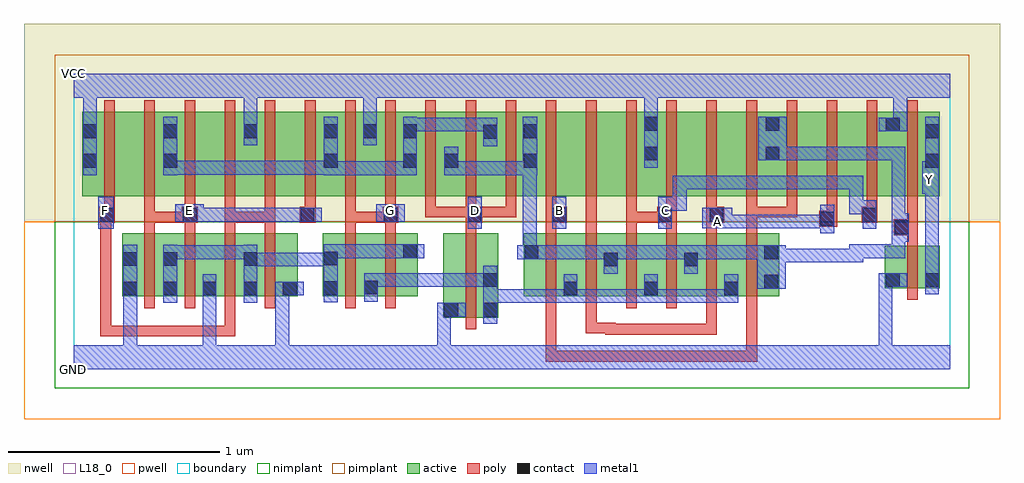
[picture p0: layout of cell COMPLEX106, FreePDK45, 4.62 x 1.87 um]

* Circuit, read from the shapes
.subckt COMPLEX106 A B C D E F G GND VCC Y
M1 n1 E GND VSUBS nfet w=0.3u l=0.05u m=2
M2 n1 F GND VSUBS nfet w=0.3u l=0.05u m=2
M3 n2 G n1 VSUBS nfet w=0.3u l=0.05u m=2
M4 n2 D GND VSUBS nfet w=0.4u l=0.05u
M5 n2 B n3 VSUBS nfet w=0.3u l=0.05u m=2
M6 n3 A n2 VSUBS nfet w=0.3u l=0.05u m=2
M7 n2 C n3 VSUBS nfet w=0.3u l=0.05u m=2
M8 Y n3 GND VSUBS nfet w=0.2u l=0.05u
M9 n4 F VCC n5 pfet w=0.4u l=0.05u
M10 n6 E n4 n5 pfet w=0.4u l=0.05u
M11 n7 E n6 n5 pfet w=0.4u l=0.05u
M12 VCC F n7 n5 pfet w=0.4u l=0.05u
M13 n8 F VCC n5 pfet w=0.4u l=0.05u
M14 n6 E n8 n5 pfet w=0.4u l=0.05u
M15 VCC G n6 n5 pfet w=0.4u l=0.05u m=2
M16 n3 D n6 n5 pfet w=0.4u l=0.05u m=3
M17 n9 B n3 n5 pfet w=0.4u l=0.05u
M18 n10 A n9 n5 pfet w=0.4u l=0.05u
M19 VCC C n10 n5 pfet w=0.4u l=0.05u
M20 n11 C VCC n5 pfet w=0.4u l=0.05u
M21 n12 A n11 n5 pfet w=0.4u l=0.05u
M22 n3 B n12 n5 pfet w=0.4u l=0.05u
M23 n13 B n3 n5 pfet w=0.4u l=0.05u
M24 n14 A n13 n5 pfet w=0.4u l=0.05u
M25 VCC C n14 n5 pfet w=0.4u l=0.05u
M26 Y n3 VCC n5 pfet w=0.4u l=0.05u
.ends

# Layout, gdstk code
import gdstk
lib = gdstk.Library(unit=1e-6, precision=1e-09)
def R(c, l, rs):  # rectangles x0, y0, x1, y1
    for r in rs: c.add(gdstk.rectangle(r[:2], r[2:], *l))
def A(c, l, x, y, w, h, nx, ny, dx, dy):  # array of equal rectangles
    R(c, l, [(x+i*dx, y+j*dy, x+i*dx+w, y+j*dy+h) for i in range(nx) for j in range(ny)])
active = (1, 0)
pwell = (2, 0)
nwell = (3, 0)
nimplant = (4, 0)
pimplant = (5, 0)
poly = (9, 0)
contact = (10, 0)
metal1 = (11, 0)
L18_0 = (18, 0)
boundary = (235, 0)

complex106 = lib.new_cell('COMPLEX106')
A(complex106, active, 2.315, 0.345, 0.265, 0.3, 5, 1, 0.19, 0)
A(complex106, active, 2.505, 0.345, 0.075, 0.3, 3, 1, 0.38, 0)
A(complex106, active, 0.04, 0.82, 0.225, 0.4, 3, 1, 0.38, 0)
A(complex106, active, 0.265, 0.82, 0.23, 0.4, 3, 1, 0.38, 0)
A(complex106, active, 2.355, 0.82, 0.19, 0.4, 3, 1, 0.57, 0)
R(complex106, active, [(1.75,0.245,1.825,0.645), (1.75,0.245,2.01,0.645), (1.935,0.245,2.01,0.645), (0.23,0.345,0.305,0.645), (0.23,0.345,0.495,0.645), (0.42,0.345,0.68,0.645), (0.42,0.345,0.495,0.56), (0.605,0.345,0.68,0.437), (0.605,0.345,0.875,0.645), (0.8,0.345,0.875,0.645), (0.8,0.345,1.06,0.645), (0.985,0.345,1.06,0.645), (1.18,0.345,1.255,0.645), (1.18,0.345,1.445,0.645), (1.37,0.345,1.445,0.597), (1.37,0.345,1.63,0.645), (1.555,0.345,1.63,0.645), (2.13,0.345,2.205,0.645), (2.13,0.345,2.39,0.645), (2.315,0.345,2.39,0.437), (2.695,0.345,2.77,0.642), (3.075,0.345,3.15,0.597), (3.84,0.385,3.915,0.585), (3.84,0.385,4.1,0.585), (4.025,0.385,4.1,0.585), (0.04,0.82,0.115,1.22), (1.18,0.82,1.44,1.22), (1.365,0.82,1.44,1.22), (1.365,0.82,1.63,1.22), (1.555,0.82,1.63,1.2), (1.555,0.82,1.825,1.22), (1.75,0.82,2.01,1.22), (1.75,0.82,1.825,1.07), (1.935,0.82,2.2,1.22), (2.125,0.82,2.355,1.22), (2.125,0.82,2.2,1.2), (2.545,0.82,2.77,1.22), (2.695,0.82,2.925,1.22), (3.115,0.82,3.345,1.22), (3.27,0.82,3.495,1.22), (3.27,0.82,3.345,1.2), (3.685,0.82,3.915,1.22), (3.84,0.82,4.1,1.22), (4.025,0.82,4.1,1.165), (0.42,0.907,0.495,1.2), (0.8,0.907,0.875,1.22), (1.18,0.907,1.255,1.2), (1.935,0.907,2.01,1.2), (2.695,0.907,2.77,1.217), (3.84,0.907,3.915,1.22)])
R(complex106, pwell, [(-0.235,-0.235,4.385,0.7)])
R(complex106, nwell, [(-0.235,0.7,4.385,1.635)])
R(complex106, nimplant, [(-0.09,-0.09,4.24,0.7)])
R(complex106, pimplant, [(-0.09,0.7,4.24,1.49)])
A(complex106, poly, 0.335, 0.29, 0.05, 0.41, 4, 1, 0.19, 0)
A(complex106, poly, 2.235, 0.29, 0.05, 0.41, 6, 1, 0.19, 0)
A(complex106, poly, 0.335, 0.65, 0.05, 0.095, 4, 1, 0.19, 0)
A(complex106, poly, 1.475, 0.65, 0.05, 0.095, 4, 1, 0.38, 0)
A(complex106, poly, 1.475, 0.72, 0.05, 0.095, 6, 1, 0.19, 0)
A(complex106, poly, 2.805, 0.72, 0.05, 0.095, 4, 1, 0.19, 0)
A(complex106, poly, 0.145, 0.765, 0.05, 0.51, 21, 1, 0.19, 0)
R(complex106, poly, [(2.235,0.037,2.285,0.087), (2.235,0.037,2.285,0.087), (2.235,0.037,2.285,0.087), (2.235,0.037,2.285,0.087), (2.235,0.037,2.285,0.087), (2.235,0.037,2.285,0.34), (2.235,0.037,2.472,0.087), (2.422,0.037,2.472,0.087), (2.422,0.037,2.472,0.087), (2.422,0.037,2.472,0.087), (2.422,0.037,2.607,0.087), (2.557,0.037,2.607,0.087), (2.557,0.037,2.912,0.087), (2.862,0.037,2.912,0.087), (2.862,0.037,2.912,0.087), (2.862,0.037,2.912,0.087), (2.862,0.037,3.045,0.087), (2.995,0.037,3.045,0.087), (2.995,0.037,3.045,0.087), (2.995,0.037,3.045,0.087), (2.995,0.037,3.235,0.087), (3.185,0.037,3.235,0.087), (3.185,0.037,3.235,0.087), (3.185,0.037,3.235,0.087), (3.185,0.037,3.235,0.087), (3.185,0.037,3.235,0.087), (3.185,0.037,3.235,0.34), (0.127,0.157,0.177,0.207), (0.127,0.157,0.177,0.207), (0.127,0.157,0.177,0.207), (0.127,0.157,0.177,0.207), (0.127,0.157,0.177,0.207), (0.127,0.157,0.177,0.207), (0.127,0.157,0.177,0.207), (0.127,0.157,0.31,0.207), (0.127,0.157,0.177,0.745), (0.26,0.157,0.31,0.207), (0.26,0.157,0.31,0.207), (0.26,0.157,0.31,0.207), (0.26,0.157,0.632,0.207), (0.582,0.157,0.632,0.207), (0.582,0.157,0.632,0.207), (0.582,0.157,0.632,0.207), (0.582,0.157,0.765,0.207), (0.715,0.157,0.765,0.207), (0.715,0.157,0.765,0.207), (0.715,0.157,0.765,0.207), (0.715,0.157,0.765,0.34), (2.517,0.165,2.567,0.22), (2.517,0.165,2.607,0.215), (2.557,0.165,2.607,0.215), (2.557,0.165,2.762,0.215), (2.712,0.165,2.762,0.215), (2.712,0.165,2.912,0.215), (2.862,0.165,2.912,0.215), (2.862,0.165,3.045,0.215), (2.995,0.165,3.045,0.22), (2.425,0.17,2.475,0.22), (2.425,0.17,2.475,0.34), (2.425,0.17,2.567,0.22), (2.995,0.17,3.045,0.22), (2.995,0.17,3.045,0.22), (2.995,0.17,3.045,0.34), (1.855,0.19,1.905,0.7), (1.285,0.29,1.335,0.7), (1.475,0.29,1.525,0.7), (3.945,0.33,3.995,0.64), (3.945,0.59,3.995,0.685), (3.882,0.635,3.995,0.71), (1.285,0.65,1.335,0.745), (2.425,0.65,2.475,0.77), (2.805,0.65,2.855,0.745), (2.995,0.65,3.045,0.745), (3.185,0.65,3.235,0.77), (3.945,0.66,3.995,0.815), (3.53,0.675,3.615,0.75), (0.12,0.695,0.195,0.77), (0.335,0.695,0.385,0.745), (0.335,0.695,0.385,0.815), (0.335,0.695,0.442,0.745), (0.392,0.695,0.442,0.745), (0.392,0.695,0.562,0.745), (0.512,0.695,0.587,0.77), (0.715,0.695,0.765,0.745), (0.715,0.695,0.955,0.745), (0.715,0.695,0.765,0.815), (0.905,0.695,0.955,0.745), (0.905,0.695,0.955,0.745), (0.905,0.695,0.955,0.745), (0.905,0.695,0.955,0.815), (1.07,0.695,1.145,0.77), (1.285,0.695,1.335,0.745), (1.285,0.695,1.335,0.745), (1.285,0.695,1.335,0.745), (1.285,0.695,1.335,0.815), (1.285,0.695,1.512,0.745), (1.462,0.695,1.537,0.77), (1.855,0.695,1.935,0.77), (2.235,0.695,2.335,0.77), (2.615,0.695,2.665,0.745), (2.615,0.695,2.665,0.815), (2.615,0.695,2.812,0.745), (2.762,0.695,2.812,0.745), (2.762,0.695,2.812,0.745), (2.762,0.695,2.855,0.77), (2.995,0.695,3.08,0.77), (3.73,0.695,3.805,0.77), (3.565,0.7,3.615,0.815), (0.145,0.72,0.195,0.815), (0.525,0.72,0.575,0.815), (1.095,0.72,1.145,0.815), (1.665,0.72,1.715,0.77), (1.665,0.72,1.715,0.77), (1.665,0.72,1.715,0.77), (1.665,0.72,1.905,0.77), (1.885,0.72,1.935,0.77), (1.885,0.72,1.935,0.77), (1.885,0.72,2.095,0.77), (2.045,0.72,2.095,0.77), (2.425,0.72,2.475,0.77), (3.185,0.72,3.235,0.77), (3.185,0.72,3.425,0.77), (3.375,0.72,3.425,0.77), (3.375,0.72,3.425,0.77), (3.375,0.72,3.425,0.77), (3.755,0.72,3.805,0.815)])
A(complex106, contact, 2.32, 0.35, 0.065, 0.065, 3, 1, 0.38, 0)
A(complex106, contact, 0.045, 1.095, 0.065, 0.065, 4, 1, 0.38, 0)
R(complex106, contact, [(1.755,0.25,1.82,0.315), (1.94,0.25,2.005,0.315), (0.235,0.35,0.3,0.415), (0.425,0.35,0.49,0.415), (0.61,0.35,0.675,0.415), (0.805,0.35,0.87,0.415), (0.99,0.35,1.055,0.415), (1.185,0.352,1.25,0.417), (1.375,0.355,1.44,0.42), (3.27,0.382,3.335,0.447), (1.94,0.39,2.005,0.455), (3.845,0.39,3.91,0.455), (4.03,0.39,4.095,0.455), (2.51,0.487,2.575,0.552), (2.89,0.487,2.955,0.552), (0.235,0.49,0.3,0.555), (0.425,0.49,0.49,0.555), (0.805,0.49,0.87,0.555), (1.185,0.492,1.25,0.557), (2.135,0.522,2.2,0.587), (3.27,0.522,3.335,0.587), (1.56,0.527,1.625,0.592), (3.887,0.64,3.952,0.705), (3.535,0.68,3.6,0.745), (0.125,0.7,0.19,0.765), (0.517,0.7,0.582,0.765), (1.075,0.7,1.14,0.765), (1.467,0.7,1.532,0.765), (1.865,0.7,1.93,0.765), (2.265,0.7,2.33,0.765), (2.767,0.7,2.832,0.765), (3.01,0.7,3.075,0.765), (3.735,0.7,3.8,0.765), (0.045,0.955,0.11,1.02), (0.425,0.955,0.49,1.02), (1.185,0.955,1.25,1.02), (1.56,0.955,1.625,1.02), (1.755,0.955,1.82,1.02), (2.13,0.955,2.195,1.02), (4.03,0.955,4.095,1.02), (2.7,0.99,2.765,1.055), (3.275,0.99,3.34,1.055), (1.94,1.092,2.005,1.157), (1.37,1.095,1.435,1.16), (1.56,1.095,1.625,1.16), (2.13,1.095,2.195,1.16), (4.03,1.095,4.095,1.16), (3.845,1.127,3.91,1.192), (2.7,1.13,2.765,1.195), (3.275,1.13,3.34,1.195)])
A(complex106, metal1, 2.32, 0.315, 0.065, 0.135, 3, 1, 0.38, 0)
R(complex106, metal1, [(0,0,4.15,0.115), (0.235,0.05,0.3,0.115), (0.235,0.05,0.3,0.115), (0.235,0.05,0.3,0.38), (0.61,0.05,0.675,0.115), (0.61,0.05,0.675,0.115), (0.61,0.05,0.675,0.115), (0.61,0.05,0.675,0.115), (0.61,0.05,0.675,0.38), (0.955,0.05,1.02,0.115), (0.955,0.05,1.02,0.115), (0.955,0.05,1.02,0.115), (0.955,0.05,1.02,0.115), (0.955,0.05,1.02,0.415), (1.72,0.05,1.785,0.115), (1.72,0.05,1.785,0.115), (1.72,0.05,1.785,0.315), (3.81,0.05,3.875,0.115), (3.81,0.05,3.875,0.115), (3.81,0.05,3.875,0.115), (3.81,0.05,3.875,0.115), (3.81,0.05,3.875,0.115), (3.81,0.05,3.875,0.115), (3.81,0.05,3.875,0.455), (1.94,0.215,2.005,0.49), (1.72,0.25,1.855,0.315), (0.235,0.315,0.3,0.38), (0.235,0.315,0.3,0.38), (0.235,0.315,0.3,0.59), (0.425,0.315,0.49,0.59), (0.61,0.315,0.675,0.45), (0.805,0.315,0.87,0.59), (1.94,0.315,2.142,0.38), (2.077,0.315,2.142,0.38), (2.077,0.315,2.142,0.38), (2.077,0.315,2.142,0.38), (2.077,0.315,2.385,0.38), (2.32,0.315,2.385,0.38), (2.32,0.315,2.385,0.38), (2.32,0.315,2.557,0.38), (2.492,0.315,2.557,0.38), (2.492,0.315,2.557,0.38), (2.492,0.315,2.557,0.38), (2.492,0.315,2.695,0.38), (2.63,0.315,2.695,0.38), (2.63,0.315,2.765,0.38), (2.7,0.315,2.902,0.38), (2.837,0.315,2.902,0.38), (2.837,0.315,2.902,0.38), (2.837,0.315,2.902,0.38), (2.837,0.315,3.145,0.38), (3.08,0.315,3.145,0.38), (3.08,0.315,3.145,0.38), (1.185,0.317,1.25,0.592), (1.375,0.32,1.44,0.455), (0.955,0.35,1.09,0.415), (4.03,0.355,4.095,0.49), (3.235,0.382,3.37,0.587), (1.375,0.39,1.59,0.455), (1.525,0.39,1.59,0.455), (1.525,0.39,1.59,0.455), (1.525,0.39,1.59,0.455), (1.525,0.39,1.762,0.455), (1.697,0.39,1.762,0.455), (1.697,0.39,1.762,0.455), (1.697,0.39,1.762,0.455), (1.697,0.39,2.005,0.455), (1.94,0.39,2.005,0.455), (1.94,0.39,2.005,0.455), (3.81,0.39,3.945,0.455), (4.03,0.425,4.095,0.897), (2.51,0.452,2.575,0.587), (2.89,0.452,2.955,0.587), (0.805,0.487,0.902,0.552), (0.837,0.487,0.902,0.552), (0.837,0.487,1.04,0.552), (0.975,0.487,1.04,0.552), (0.975,0.487,1.04,0.552), (0.975,0.487,1.04,0.552), (0.975,0.487,1.25,0.552), (3.305,0.507,3.437,0.572), (3.372,0.507,3.437,0.572), (3.372,0.507,3.575,0.572), (3.51,0.507,3.575,0.572), (3.51,0.507,3.575,0.572), (3.51,0.507,3.575,0.572), (3.51,0.507,3.737,0.572), (3.672,0.507,3.737,0.592), (0.425,0.522,0.627,0.587), (0.562,0.522,0.627,0.587), (0.562,0.522,0.627,0.587), (0.562,0.522,0.627,0.587), (0.562,0.522,0.765,0.587), (0.7,0.522,0.765,0.587), (0.7,0.522,0.87,0.587), (2.1,0.522,2.235,0.587), (2.127,0.522,2.192,0.985), (2.17,0.522,2.42,0.587), (2.355,0.522,2.42,0.587), (2.355,0.522,2.42,0.587), (2.355,0.522,2.42,0.587), (2.355,0.522,2.557,0.587), (2.492,0.522,2.557,0.587), (2.492,0.522,2.575,0.587), (2.51,0.522,2.695,0.587), (2.63,0.522,2.695,0.587), (2.63,0.522,2.765,0.587), (2.7,0.522,2.765,0.587), (2.7,0.522,2.832,0.587), (2.767,0.522,2.832,0.587), (2.767,0.522,2.955,0.587), (2.89,0.522,3.092,0.587), (3.027,0.522,3.092,0.587), (3.027,0.522,3.092,0.587), (3.027,0.522,3.092,0.587), (3.027,0.522,3.3,0.587), (3.235,0.522,3.3,0.587), (3.235,0.522,3.3,0.587), (1.185,0.527,1.25,0.592), (1.185,0.527,1.25,0.592), (1.185,0.527,1.452,0.592), (1.387,0.527,1.452,0.592), (1.387,0.527,1.452,0.592), (1.387,0.527,1.452,0.592), (1.387,0.527,1.59,0.592), (1.525,0.527,1.66,0.592), (3.672,0.527,3.737,0.592), (3.672,0.527,3.737,0.592), (3.672,0.527,3.937,0.592), (3.872,0.527,3.937,0.592), (3.872,0.527,3.937,0.73), (3.887,0.605,3.952,0.74), (3.535,0.645,3.6,0.78), (0.117,0.665,0.19,0.817), (1.865,0.665,1.932,0.817), (2.265,0.665,2.332,0.817), (2.767,0.665,2.832,0.817), (3.735,0.665,3.8,0.8), (3.872,0.665,3.937,0.73), (3.872,0.665,3.937,0.73), (3.872,0.665,3.937,0.73), (3.872,0.665,3.952,0.73), (3.872,0.665,3.937,1.055), (2.975,0.667,3.117,0.765), (3.052,0.667,3.117,0.732), (3.052,0.667,3.117,0.732), (3.052,0.667,3.3,0.732), (3.235,0.667,3.3,0.732), (3.235,0.667,3.3,0.732), (3.235,0.667,3.3,0.732), (3.235,0.667,3.437,0.732), (3.372,0.667,3.437,0.732), (3.372,0.667,3.6,0.732), (3.535,0.667,3.6,0.732), (3.535,0.667,3.6,0.732), (0.482,0.7,0.617,0.782), (0.552,0.7,0.627,0.765), (0.562,0.7,0.627,0.765), (0.562,0.7,0.765,0.765), (0.7,0.7,0.765,0.765), (0.7,0.7,0.765,0.765), (0.7,0.7,0.765,0.765), (0.7,0.7,0.902,0.765), (0.837,0.7,0.902,0.765), (0.837,0.7,1.105,0.765), (1.04,0.7,1.105,0.765), (1.04,0.7,1.105,0.765), (1.04,0.7,1.175,0.765), (1.432,0.7,1.567,0.782), (3.672,0.735,3.737,0.8), (3.672,0.735,3.8,0.8), (3.672,0.735,3.737,0.917), (2.767,0.752,2.902,0.817), (2.837,0.752,2.902,0.817), (2.837,0.752,2.902,0.917), (4.017,0.832,4.095,0.985), (2.837,0.852,2.902,0.917), (2.837,0.852,3.162,0.917), (3.097,0.852,3.162,0.917), (3.097,0.852,3.162,0.917), (3.097,0.852,3.162,0.917), (3.097,0.852,3.3,0.917), (3.235,0.852,3.3,0.917), (3.235,0.852,3.3,0.917), (3.235,0.852,3.3,0.917), (3.235,0.852,3.437,0.917), (3.372,0.852,3.437,0.917), (3.372,0.852,3.575,0.917), (3.51,0.852,3.575,0.917), (3.51,0.852,3.575,0.917), (3.51,0.852,3.575,0.917), (3.51,0.852,3.737,0.917), (3.672,0.852,3.737,0.917), (0.045,0.92,0.11,1.195), (0.425,0.92,0.49,1.195), (1.185,0.92,1.25,0.985), (1.185,0.92,1.25,0.985), (1.185,0.92,1.25,1.195), (1.185,0.92,1.452,0.985), (1.387,0.92,1.452,0.985), (1.387,0.92,1.625,0.985), (1.56,0.92,1.625,0.985), (1.56,0.92,1.625,0.985), (1.56,0.92,1.625,1.195), (1.755,0.92,1.82,1.055), (1.755,0.92,2.005,0.985), (1.94,0.92,2.005,0.985), (1.94,0.92,2.005,0.985), (1.94,0.92,2.005,0.985), (1.94,0.92,2.192,0.985), (2.127,0.92,2.192,0.985), (2.127,0.92,2.192,0.985), (2.127,0.92,2.192,0.985), (2.127,0.92,2.192,0.985), (2.127,0.92,2.195,1.195), (4.03,0.92,4.095,0.985), (4.03,0.92,4.095,1.195), (0.425,0.922,0.627,0.987), (0.562,0.922,0.627,0.987), (0.562,0.922,0.627,0.987), (0.562,0.922,0.627,0.987), (0.562,0.922,0.765,0.987), (0.7,0.922,0.765,0.987), (0.7,0.922,0.765,0.987), (0.7,0.922,0.765,0.987), (0.7,0.922,0.902,0.987), (0.837,0.922,0.902,0.987), (0.837,0.922,1.112,0.987), (1.047,0.922,1.112,0.987), (1.047,0.922,1.112,0.987), (1.047,0.922,1.112,0.987), (1.047,0.922,1.25,0.987), (2.7,0.955,2.765,1.23), (3.24,0.99,3.375,1.195), (3.31,0.99,3.437,1.055), (3.372,0.99,3.437,1.055), (3.372,0.99,3.575,1.055), (3.51,0.99,3.575,1.055), (3.51,0.99,3.575,1.055), (3.51,0.99,3.575,1.055), (3.51,0.99,3.737,1.055), (3.672,0.99,3.737,1.055), (3.672,0.99,3.737,1.055), (3.672,0.99,3.737,1.055), (3.672,0.99,3.937,1.055), (3.872,0.99,3.937,1.055), (1.94,1.057,2.005,1.192), (0.805,1.06,0.87,1.195), (1.37,1.06,1.435,1.195), (1.56,1.127,1.762,1.192), (1.697,1.127,1.762,1.192), (1.697,1.127,1.762,1.192), (1.697,1.127,1.762,1.192), (1.697,1.127,2.005,1.192), (1.94,1.127,2.005,1.192), (1.94,1.127,2.005,1.192), (3.81,1.127,3.945,1.192), (3.88,1.127,3.945,1.35), (0.045,1.13,0.11,1.35), (0.805,1.13,0.87,1.35), (1.37,1.13,1.435,1.35), (2.7,1.165,2.765,1.35), (0,1.285,4.15,1.4)])
A(complex106, L18_0, 1.467, 0.717, 0.065, 0.065, 3, 1, 0.4, 0)
R(complex106, L18_0, [(0,0,4.15,0.115), (0.235,0.05,0.3,0.115), (0.235,0.05,0.3,0.115), (0.235,0.05,0.3,0.38), (0.61,0.05,0.675,0.115), (0.61,0.05,0.675,0.115), (0.61,0.05,0.675,0.115), (0.61,0.05,0.675,0.115), (0.61,0.05,0.675,0.38), (0.955,0.05,1.02,0.115), (0.955,0.05,1.02,0.115), (0.955,0.05,1.02,0.115), (0.955,0.05,1.02,0.115), (0.955,0.05,1.02,0.415), (1.72,0.05,1.785,0.115), (1.72,0.05,1.785,0.115), (1.72,0.05,1.785,0.315), (3.81,0.05,3.875,0.115), (3.81,0.05,3.875,0.115), (3.81,0.05,3.875,0.115), (3.81,0.05,3.875,0.115), (3.81,0.05,3.875,0.115), (3.81,0.05,3.875,0.115), (3.81,0.05,3.875,0.455), (1.72,0.25,1.855,0.315), (0.235,0.315,0.3,0.59), (0.235,0.315,0.3,0.38), (0.235,0.315,0.3,0.38), (0.61,0.315,0.675,0.45), (0.955,0.35,1.09,0.415), (4.03,0.355,4.095,0.49), (3.81,0.39,3.945,0.455), (4.03,0.425,4.095,0.897), (3.535,0.645,3.6,0.78), (0.117,0.665,0.19,0.817), (1.865,0.665,1.932,0.817), (2.265,0.665,2.332,0.817), (2.767,0.665,2.832,0.817), (3.735,0.665,3.8,0.8), (2.975,0.667,3.117,0.765), (3.017,0.667,3.082,0.732), (3.052,0.667,3.117,0.732), (3.052,0.667,3.117,0.732), (3.052,0.667,3.3,0.732), (3.235,0.667,3.3,0.732), (3.235,0.667,3.3,0.732), (3.235,0.667,3.3,0.732), (3.235,0.667,3.437,0.732), (3.372,0.667,3.437,0.732), (3.372,0.667,3.6,0.732), (3.535,0.667,3.6,0.732), (3.535,0.667,3.6,0.732), (0.482,0.7,0.617,0.782), (0.552,0.7,0.627,0.765), (0.562,0.7,0.627,0.765), (0.562,0.7,0.765,0.765), (0.7,0.7,0.765,0.765), (0.7,0.7,0.765,0.765), (0.7,0.7,0.765,0.765), (0.7,0.7,0.902,0.765), (0.837,0.7,0.902,0.765), (0.837,0.7,1.105,0.765), (1.04,0.7,1.105,0.765), (1.04,0.7,1.105,0.765), (1.04,0.7,1.175,0.765), (1.432,0.7,1.567,0.782), (0.117,0.717,0.182,0.782), (0.517,0.717,0.582,0.782), (2.767,0.717,2.832,0.782), (3.672,0.735,3.737,0.8), (3.672,0.735,3.737,0.917), (3.672,0.735,3.8,0.8), (2.767,0.752,2.902,0.817), (2.837,0.752,2.902,0.817), (2.837,0.752,2.902,0.917), (4.017,0.832,4.095,0.985), (2.837,0.852,2.902,0.917), (2.837,0.852,3.162,0.917), (3.097,0.852,3.162,0.917), (3.097,0.852,3.162,0.917), (3.097,0.852,3.162,0.917), (3.097,0.852,3.3,0.917), (3.235,0.852,3.3,0.917), (3.235,0.852,3.3,0.917), (3.235,0.852,3.3,0.917), (3.235,0.852,3.437,0.917), (3.372,0.852,3.437,0.917), (3.372,0.852,3.575,0.917), (3.51,0.852,3.575,0.917), (3.51,0.852,3.575,0.917), (3.51,0.852,3.575,0.917), (3.51,0.852,3.737,0.917), (3.672,0.852,3.737,0.917), (4.017,0.867,4.082,0.932), (0.045,0.92,0.11,1.195), (4.03,0.92,4.095,1.195), (4.03,0.92,4.095,0.985), (2.7,0.955,2.765,1.23), (0.805,1.06,0.87,1.195), (1.37,1.06,1.435,1.195), (3.81,1.127,3.945,1.192), (3.88,1.127,3.945,1.35), (0.045,1.13,0.11,1.35), (0.805,1.13,0.87,1.35), (1.37,1.13,1.435,1.35), (2.7,1.165,2.765,1.35), (0,1.285,4.15,1.4)])
R(complex106, boundary, [(0,0,4.15,1.4)])
complex106.add(gdstk.Label('A', (3.05,0.7), layer=11, texttype=0))
complex106.add(gdstk.Label('B', (2.3,0.75), layer=11, texttype=0))
complex106.add(gdstk.Label('C', (2.8,0.75), layer=11, texttype=0))
complex106.add(gdstk.Label('D', (1.9,0.75), layer=11, texttype=0))
complex106.add(gdstk.Label('E', (0.55,0.75), layer=11, texttype=0))
complex106.add(gdstk.Label('F', (0.15,0.75), layer=11, texttype=0))
complex106.add(gdstk.Label('G', (1.5,0.75), layer=11, texttype=0))
complex106.add(gdstk.Label('Y', (4.05,0.9), layer=11, texttype=0))
complex106.add(gdstk.Label('VCC', (0,1.4), layer=11, texttype=0))
complex106.add(gdstk.Label('GND', (0,0), layer=11, texttype=0))

lib.write_gds('COMPLEX106.gds')
